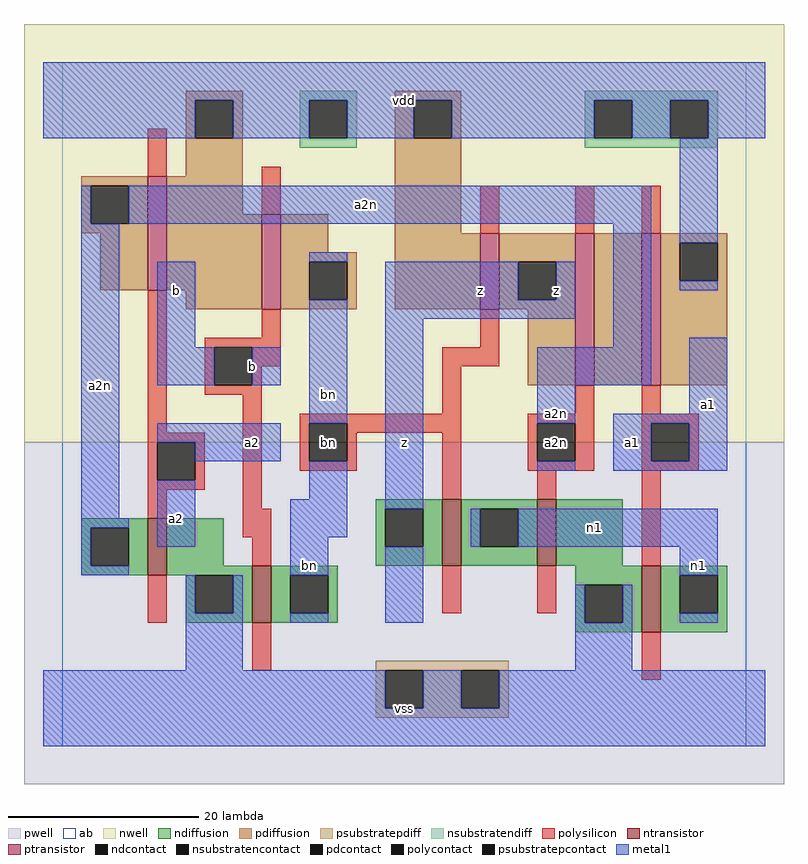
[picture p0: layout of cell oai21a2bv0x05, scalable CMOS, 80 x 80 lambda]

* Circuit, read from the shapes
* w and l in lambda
.subckt oai21a2bv0x05 a1 a2 a2n b bn n1 vdd vss z
M1 vss a2 a2n vss nfet w=6 l=2
M2 bn b vss vss nfet w=6 l=2
M3 n1 bn z vss nfet w=7 l=2
M4 vss a2n n1 vss nfet w=7 l=2
M5 n1 a1 vss vss nfet w=7 l=2
M6 vdd a2 a2n vdd pfet w=12 l=2
M7 bn b vdd vdd pfet w=10 l=2
M8 z bn vdd vdd pfet w=8 l=2
M9 n2 a2n z vdd pfet w=16 l=2
M10 vdd a1 n2 vdd pfet w=16 l=2
.ends

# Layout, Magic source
magic
tech scmos
<< ab >>
rect 0 0 72 72
<< pwell >>
rect -4 -4 76 32
<< nwell >>
rect -4 32 76 76
<< polysilicon >>
rect 9 60 11 65
rect 21 56 23 61
rect 9 33 11 48
rect 44 54 46 59
rect 54 54 56 59
rect 61 54 63 59
rect 21 43 23 46
rect 15 42 23 43
rect 44 42 46 46
rect 15 38 16 42
rect 20 40 23 42
rect 40 40 46 42
rect 20 38 21 40
rect 15 37 21 38
rect 9 32 15 33
rect 9 28 10 32
rect 14 28 15 32
rect 9 27 15 28
rect 9 24 11 27
rect 19 25 21 37
rect 40 35 42 40
rect 54 35 56 38
rect 25 34 42 35
rect 25 30 26 34
rect 30 33 42 34
rect 30 30 31 33
rect 25 29 31 30
rect 40 26 42 33
rect 49 34 56 35
rect 49 30 50 34
rect 54 30 56 34
rect 49 29 56 30
rect 61 35 63 38
rect 61 34 67 35
rect 61 30 62 34
rect 66 30 67 34
rect 61 29 67 30
rect 50 26 52 29
rect 19 22 22 25
rect 20 19 22 22
rect 61 19 63 29
rect 9 13 11 18
rect 40 14 42 19
rect 50 14 52 19
rect 20 8 22 13
rect 61 7 63 12
<< ndiffusion >>
rect 33 25 40 26
rect 2 23 9 24
rect 2 19 3 23
rect 7 19 9 23
rect 2 18 9 19
rect 11 19 17 24
rect 33 21 34 25
rect 38 21 40 25
rect 33 19 40 21
rect 42 25 50 26
rect 42 21 44 25
rect 48 21 50 25
rect 42 19 50 21
rect 52 19 59 26
rect 11 18 20 19
rect 13 14 14 18
rect 18 14 20 18
rect 13 13 20 14
rect 22 18 29 19
rect 22 14 24 18
rect 28 14 29 18
rect 54 17 61 19
rect 22 13 29 14
rect 54 13 55 17
rect 59 13 61 17
rect 54 12 61 13
rect 63 18 70 19
rect 63 14 65 18
rect 69 14 70 18
rect 63 12 70 14
<< pdiffusion >>
rect 13 68 19 69
rect 13 64 14 68
rect 18 64 19 68
rect 13 60 19 64
rect 35 68 42 69
rect 35 64 37 68
rect 41 64 42 68
rect 2 59 9 60
rect 2 55 3 59
rect 7 55 9 59
rect 2 54 9 55
rect 4 48 9 54
rect 11 56 19 60
rect 11 48 21 56
rect 13 46 21 48
rect 23 52 28 56
rect 35 54 42 64
rect 23 51 31 52
rect 23 47 26 51
rect 30 47 31 51
rect 23 46 31 47
rect 35 46 44 54
rect 46 51 54 54
rect 46 47 48 51
rect 52 47 54 51
rect 46 46 54 47
rect 49 38 54 46
rect 56 38 61 54
rect 63 53 70 54
rect 63 49 65 53
rect 69 49 70 53
rect 63 38 70 49
<< metal1 >>
rect -2 68 74 72
rect -2 64 14 68
rect 18 64 26 68
rect 30 64 37 68
rect 41 64 56 68
rect 60 64 64 68
rect 68 64 74 68
rect 2 55 3 59
rect 7 55 62 59
rect 2 24 6 55
rect 26 51 30 52
rect 10 42 14 51
rect 10 38 16 42
rect 20 38 23 42
rect 26 34 30 47
rect 10 32 23 34
rect 14 30 23 32
rect 2 23 7 24
rect 2 19 3 23
rect 10 21 14 28
rect 26 26 30 30
rect 24 22 30 26
rect 34 47 48 51
rect 52 47 54 51
rect 34 45 54 47
rect 34 25 38 45
rect 58 42 62 55
rect 65 53 69 64
rect 65 48 69 49
rect 50 38 62 42
rect 50 34 54 38
rect 66 35 70 43
rect 50 29 54 30
rect 58 34 70 35
rect 58 30 62 34
rect 66 30 70 34
rect 58 29 70 30
rect 2 18 7 19
rect 24 18 28 22
rect 13 14 14 18
rect 18 14 19 18
rect 13 8 19 14
rect 24 13 28 14
rect 43 21 44 25
rect 48 21 69 25
rect 34 13 38 21
rect 65 18 69 21
rect 54 13 55 17
rect 59 13 60 17
rect 65 13 69 14
rect 54 8 60 13
rect -2 4 34 8
rect 38 4 42 8
rect 46 4 74 8
rect -2 0 74 4
<< ntransistor >>
rect 9 18 11 24
rect 40 19 42 26
rect 50 19 52 26
rect 20 13 22 19
rect 61 12 63 19
<< ptransistor >>
rect 9 48 11 60
rect 21 46 23 56
rect 44 46 46 54
rect 54 38 56 54
rect 61 38 63 54
<< polycontact >>
rect 16 38 20 42
rect 10 28 14 32
rect 26 30 30 34
rect 50 30 54 34
rect 62 30 66 34
<< ndcontact >>
rect 3 19 7 23
rect 34 21 38 25
rect 44 21 48 25
rect 14 14 18 18
rect 24 14 28 18
rect 55 13 59 17
rect 65 14 69 18
<< pdcontact >>
rect 14 64 18 68
rect 37 64 41 68
rect 3 55 7 59
rect 26 47 30 51
rect 48 47 52 51
rect 65 49 69 53
<< psubstratepcontact >>
rect 34 4 38 8
rect 42 4 46 8
<< nsubstratencontact >>
rect 26 64 30 68
rect 56 64 60 68
rect 64 64 68 68
<< psubstratepdiff >>
rect 33 8 47 9
rect 33 4 34 8
rect 38 4 42 8
rect 46 4 47 8
rect 33 3 47 4
<< nsubstratendiff >>
rect 25 68 31 69
rect 25 64 26 68
rect 30 64 31 68
rect 25 63 31 64
rect 55 68 69 69
rect 55 64 56 68
rect 60 64 64 68
rect 68 64 69 68
rect 55 63 69 64
<< labels >>
rlabel polycontact 28 32 28 32 6 bn
rlabel polycontact 52 32 52 32 6 a2n
rlabel metal1 12 24 12 24 6 a2
rlabel metal1 12 48 12 48 6 b
rlabel metal1 4 38 4 38 6 a2n
rlabel metal1 26 19 26 19 6 bn
rlabel metal1 20 32 20 32 6 a2
rlabel metal1 28 37 28 37 6 bn
rlabel metal1 20 40 20 40 6 b
rlabel metal1 36 4 36 4 6 vss
rlabel metal1 36 32 36 32 6 z
rlabel metal1 52 35 52 35 6 a2n
rlabel metal1 44 48 44 48 6 z
rlabel metal1 52 48 52 48 6 z
rlabel metal1 36 68 36 68 6 vdd
rlabel metal1 67 19 67 19 6 n1
rlabel metal1 56 23 56 23 6 n1
rlabel metal1 60 32 60 32 6 a1
rlabel metal1 68 36 68 36 6 a1
rlabel metal1 32 57 32 57 6 a2n
<< end >>
